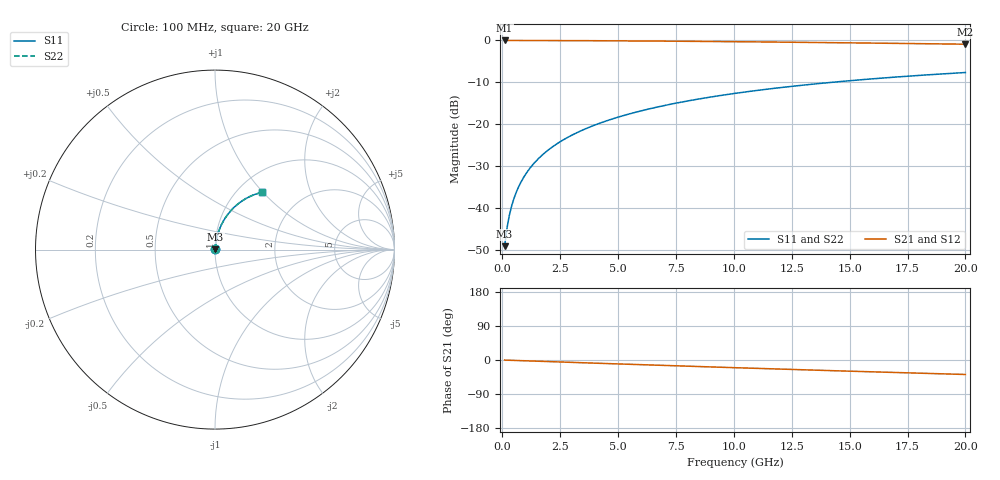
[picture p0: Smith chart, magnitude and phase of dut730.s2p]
! Touchstone file exported from HFSS 2026.1.0
!  File:  C:/ffzhzh/LocalFiles/Ansys_Project_Files/temp_train_BSMRDL_730_1783168505_18472.aedt
!  Generated:  08:36:20 PM Jul  4, 2026
!  Design:  BSMRDL
!  Project:  temp_train_BSMRDL_730_1783168505_18472
! Variables:
!  h_bsmrdl = 4.74um
!  h_ox = 20um
!  h_rdl = 5um
!  h_sub = 80um
!  h_tmrdl = 5um
!  h_tsv = 80um
!  h_via = 3um
!  l_bsmrdl = 504.41um
!  l_sub = 904.41um
!  l_tmrdl = 200um
!  m_sub = 200um
!  pitch = 53.1um
!  r_tsv = 6um
!  s_tmrdl = 10um
!  w_bsmrdl = 16.4um
!  w_sub = 500um
!  w_tmrdl = 12um
!  x_tsv_center1 = 206um
!  x_tsv_center2 = 726.81um
!  x_tsv_center3 = 938.81um
!  x_tsv_center4 = 1459.62um
!  x_tsv_center5 = 1671.62um
!  x_tsv_center6 = 2192.43um
# GHz S MA R 50.000000
! Terminal data exported
! Port[1] = BSM_RDL1_1_T1
! Port[2] = BSM_RDL1_1_T2
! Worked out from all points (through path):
!   200 points, 100 MHz to 20 GHz, reference 50 ohm
!   highest |S21| = -0.02 dB at 100 MHz (marker M1); lowest = -0.9 dB at 20 GHz (marker M2)
!   group delay of S21, straight-line fit = 5.31 ps
!   lowest |S11| = -49.0 dB at 100 MHz (marker M3), VSWR 1.01, Z = 50.2 + j0.262 ohm
!   |S11| at or under -10 dB: start of sweep to 14.19 GHz
!   |S22| runs from -49.0 to -7.7 dB; largest |S21 - S12| = 3.2e-15
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0.1  0.003558 47.2  0.9976 -0.2  0.9976 -0.2  0.003558 47.2
! Gamma 0 0 0 0
! Port Impedance 50 0 50 0
0.2  0.00577 64.1  0.9975 -0.4  0.9975 -0.4  0.00577 64.1
0.3  0.008175 71.1  0.9974 -0.6  0.9974 -0.6  0.008176 71.1
0.4  0.01062 74.7  0.9973 -0.9  0.9973 -0.9  0.01062 74.7
0.5  0.01307 76.9  0.9972 -1.1  0.9972 -1.1  0.01307 76.9
0.7  0.01797 79.4  0.997 -1.5  0.997 -1.5  0.01798 79.4
0.8  0.02043 80.1  0.997 -1.7  0.997 -1.7  0.02043 80.1
1  0.02535 81.1  0.9968 -2.1  0.9968 -2.1  0.02535 81.1
1.2  0.03028 81.7  0.9966 -2.5  0.9966 -2.5  0.03028 81.7
1.4  0.03521 81.9  0.9963 -2.9  0.9963 -2.9  0.03521 81.9
1.7  0.0426 82.0  0.9959 -3.6  0.9959 -3.6  0.0426 82.0
2  0.04997 81.9  0.9954 -4.2  0.9954 -4.2  0.04997 81.9
2.7  0.06709 81.1  0.994 -5.7  0.994 -5.7  0.06709 81.1
3.5  0.08645 79.9  0.9921 -7.3  0.9921 -7.3  0.08644 79.9
4.2  0.1032 78.7  0.99 -8.7  0.99 -8.7  0.1032 78.7
5  0.122 77.2  0.9874 -10.4  0.9874 -10.4  0.122 77.2
6.8  0.1634 73.8  0.9804 -14.0  0.9804 -14.0  0.1634 73.8
8.3  0.1966 71.1  0.9735 -16.9  0.9735 -16.9  0.1966 71.0
10.1  0.2351 67.7  0.9643 -20.4  0.9643 -20.4  0.2351 67.7
13.4  0.3012 61.8  0.9449 -26.6  0.9449 -26.6  0.3012 61.7
16.7  0.3611 56.0  0.9233 -32.5  0.9233 -32.5  0.3611 56.0
20  0.4144 50.5  0.9004 -38.2  0.9004 -38.2  0.4144 50.5
